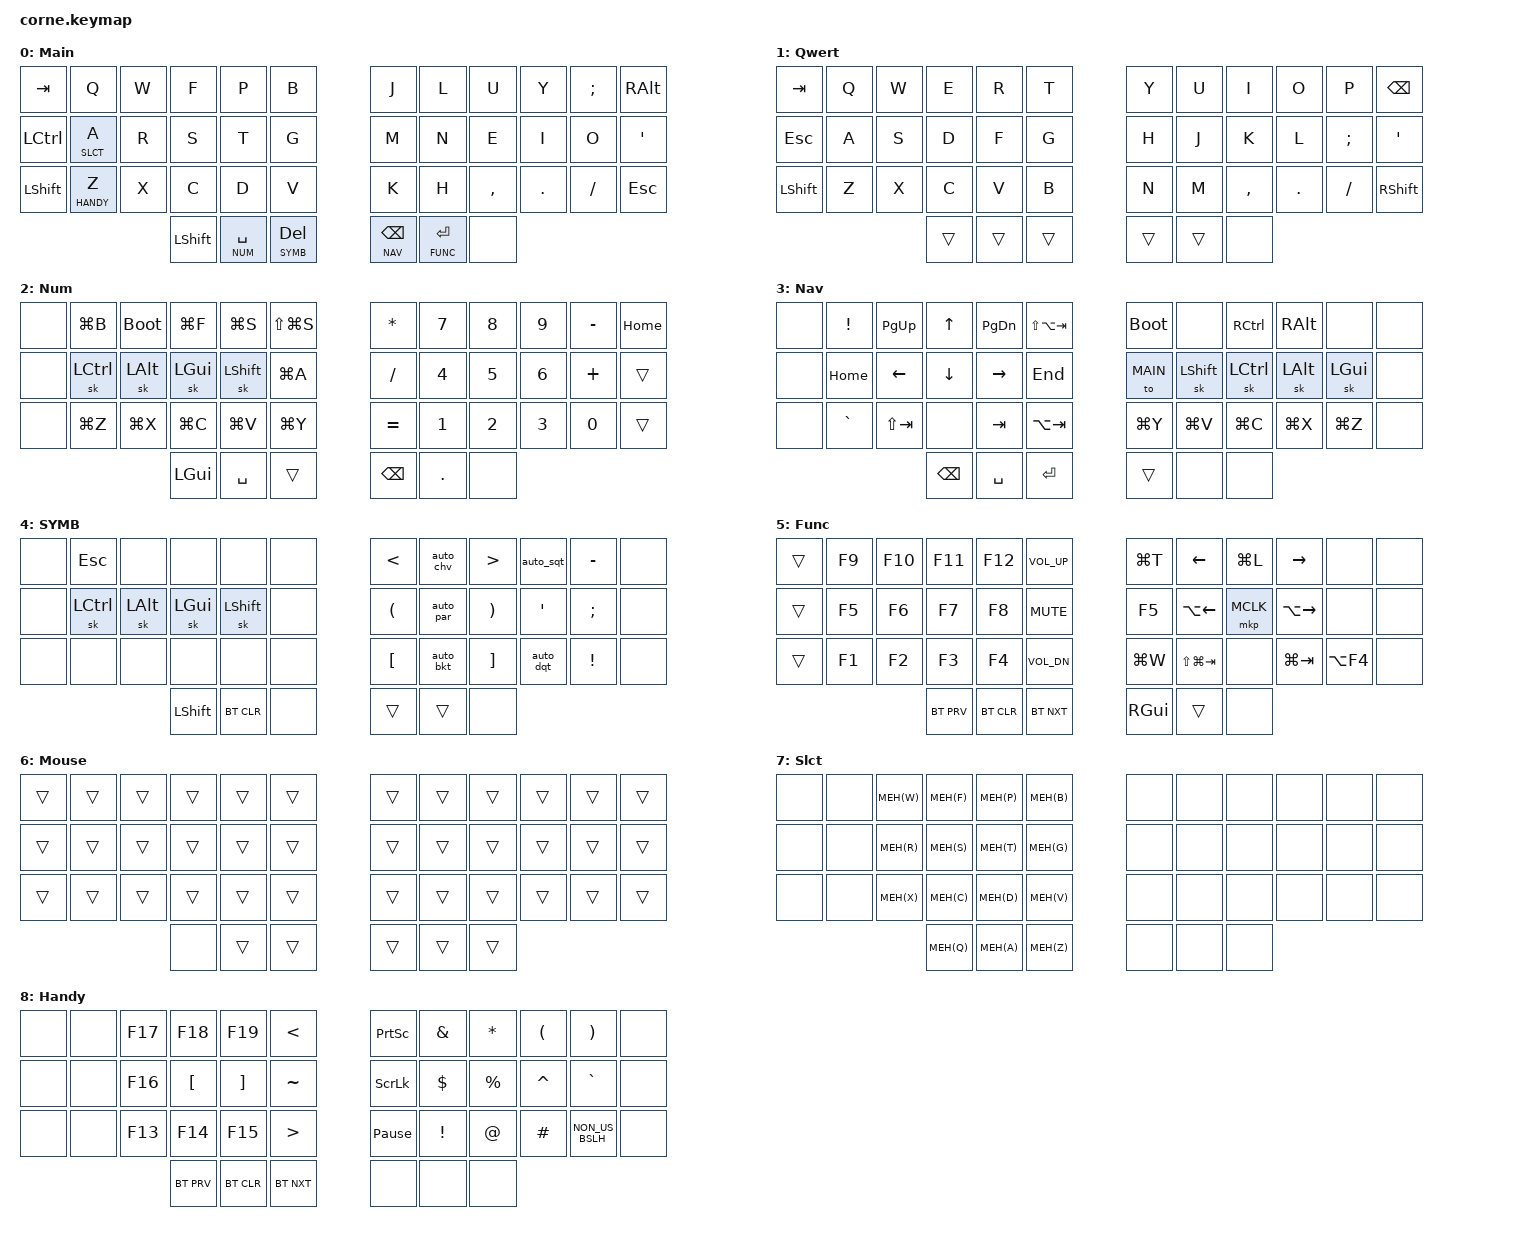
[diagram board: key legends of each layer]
/*
 * Copyright (c) 2020 The ZMK Contributors
 *
 * SPDX-License-Identifier: MIT
 */

#include <behaviors.dtsi>
#include <dt-bindings/zmk/keys.h>
#include <dt-bindings/zmk/bt.h>
#include <dt-bindings/zmk/mouse.h>



#define MAIN  0
#define QWERT 1
#define NUM   2
#define NAV   3
#define SYMB  4
#define FUNC  5
#define MOUSE 6
#define SLCT  7
#define HANDY 8

#define MEH(key) LA(LS(LC(key)))


&lt {
    tapping-term-ms = <150>;
    flavor = "balanced";
    quick-tap-ms = <80>;
    require-prior-idle-ms = <50>;
};



/ {
    combos {
        compatible = "zmk,combos";

        combo_alt {
            timeout-ms = <50>;
            bindings = <&kp LALT>;
            key-positions = <13 14>;
        };

        combo_gui {
            timeout-ms = <50>;
            bindings = <&kp LGUI>;
            key-positions = <14 15>;
        };

        combo_shift {
            timeout-ms = <50>;
            bindings = <&kp LSHFT>;
            key-positions = <15 16>;
        };

        combo_lck {
            timeout-ms = <50>;
            bindings = <&mkp LCLK>;
            key-positions = <19 20>;
        };

        combo_DGSK {
            timeout-ms = <50>;
            bindings = <&mo MOUSE>;
            key-positions = <20 21>;
        };

        combo_rck {
            timeout-ms = <50>;
            bindings = <&mkp RCLK>;
            key-positions = <21 22>;
        };

        combo_change {
            timeout-ms = <100>;
            bindings = <&lan_chan>;
            key-positions = <25 26>;
        };


    };
};




/ {

    macros {

// language change and layer change at the same time
        lan_chan: lan_chan {
            compatible = "zmk,behavior-macro";
            label = "ZM_lan_chan";
            #binding-cells = <0>;
            bindings 
                = <&macro_press &tog QWERT>
                , <&macro_tap &kp RALT>
                , <&macro_release &tog QWERT>
                ;
        };

// automatically write two parentheses
        auto_par: auto_par {
            compatible = "zmk,behavior-macro";
            label = "ZM_auto_par";
            #binding-cells = <0>;
            bindings
                = <&macro_tap &kp LPAR &kp RPAR &kp LEFT>
                ;
        };

// automatically write two brackets
        auto_bkt: auto_bkt {
            compatible = "zmk,behavior-macro";
            label = "ZM_auto_bkt";
            #binding-cells = <0>;
            bindings
                = <&macro_tap &kp LBKT &kp RBKT &kp LEFT>
                ;
        };

// automatically write two chevrons
        auto_chv: auto_chv {
            compatible = "zmk,behavior-macro";
            label = "ZM_auto_chv";
            #binding-cells = <0>;
            bindings
                = <&macro_tap &kp LT &kp GT &kp LEFT>
                ;
        };

// automatically write two quotations
        auto_dqt: auto_dqt {
            compatible = "zmk,behavior-macro";
            label = "ZM_auto_dqt";
            #binding-cells = <0>;
            bindings
                = <&macro_press &kp LSHFT>
                , <&macro_tap &kp SQT &kp SQT>
                , <&macro_release &kp LSHFT>
                , <&macro_tap &kp LEFT>

                ;
        };

// automatically write two small quotations
        auto_sqt: auto_sqt {
            compatible = "zmk,behavior-macro";
            label = "ZM_auto_sqt";
            #binding-cells = <0>;
            bindings
                = <&macro_tap &kp SQT &kp SQT &kp LEFT>
                ;
        };


//end of macro list
    };
};



/ {
        keymap {
                compatible = "zmk,keymap";

                Main {
                        label = "Main";
                        bindings = <
        &kp TAB   &kp Q       &kp W &kp F &kp P &kp B            &kp J   &kp L   &kp U     &kp Y   &kp SEMI    &kp RALT
        &kp LCTRL &lt SLCT A  &kp R &kp S &kp T &kp G            &kp M   &kp N   &kp E     &kp I   &kp O &kp SQT
        &kp LSHFT &lt HANDY Z &kp X &kp C &kp D &kp V            &kp K   &kp H   &kp COMMA &kp DOT &kp FSLH &kp ESC
               &kp LSHFT  &lt NUM SPACE  &lt SYMB DEL            &lt NAV BSPC  &lt FUNC RET  &none
                        >;
                };

        Qwert {
            label = "Qwert";
            bindings = <
  &kp TAB  &kp Q  &kp W      &kp E      &kp R  &kp T    &kp Y    &kp U      &kp I    &kp O     &kp P    &kp BSPC
  &kp ESC  &kp A  &kp S      &kp D      &kp F  &kp G    &kp H    &kp J      &kp K    &kp L  &kp SEMI    &kp APOS
&kp LSHFT  &kp Z  &kp X      &kp C      &kp V  &kp B    &kp N    &kp M  &kp COMMA  &kp DOT  &kp FSLH  &kp RSHIFT
                             &trans    &trans  &trans   &trans   &trans  &none
                        >;
                };

                Num {
                        label = "Num";
                        bindings = <

&none   &kp LG(B) &bootloader &kp LG(F) &kp LG(S) &kp LS(LG(S))        &kp ASTRK  &kp N7   &kp N8  &kp N9  &kp MINUS  &kp HOME
&none   &sk LCTRL &sk LEFT_ALT &sk LGUI &sk LSHFT &kp LG(A)            &kp FSLH   &kp N4   &kp N5  &kp N6  &kp PLUS    &trans
&none   &kp LG(Z) &kp LG(X)  &kp LG(C) &kp LG(V) &kp LG(Y)             &kp EQUAL  &kp N1   &kp N2  &kp N3  &kp N0    &trans
                               &kp LGUI  &kp SPACE    &trans           &kp BSPC  &kp DOT   &none
                        >;
                };

                Nav {
                        label = "Nav";
                        bindings = <

&none    &kp EXCL   &kp PG_UP &kp UP   &kp PG_DN  &kp LS(LA(TAB))          &bootloader   &none   &kp RCTRL  &kp RALT  &none    &none
&none    &kp HOME   &kp LEFT  &kp DOWN &kp RIGHT  &kp END                 &to MAIN  &sk LSHFT   &sk LCTRL  &sk LEFT_ALT &sk LGUI   &none
&none    &kp GRAVE   &kp LS(TAB)     &none    &kp TAB    &kp LA(TAB)      &kp LG(Y) &kp LG(V)   &kp LG(C)   &kp LG(X)   &kp LG(Z)  &none
                        &kp BSPC  &kp SPACE  &kp RET                      &trans    &none   &none 
                        >;
                };

        SYMB {
            label = "SYMB";
            bindings = <
   &none    &kp ESC  &none  &none   &none  &none                  &kp LT    &auto_chv  &kp GT   &auto_sqt &kp MINUS  &none
   &none    &sk LCTRL &sk LEFT_ALT &sk LGUI &sk LSHFT  &none      &kp LPAR  &auto_par  &kp RPAR &kp SQT   &kp SEMI   &none
   &none    &none    &none  &none   &none  &none                  &kp LBKT  &auto_bkt  &kp RBKT &auto_dqt &kp EXCL   &none
                                   &kp LSHFT  &bt BT_CLR  &none        &trans  &trans  &none 
            >;
        };

        Func {
            label = "Func";
            bindings = <
&trans  &kp F9  &kp F10  &kp F11  &kp F12    &kp C_VOL_UP          &kp LG(T)  &kp LEFT         &kp LG(L) &kp RIGHT     &none      &none
&trans  &kp F5  &kp F6   &kp F7   &kp F8     &kp C_MUTE            &kp F5     &kp LA(LEFT)     &mkp MCLK &kp LA(RIGHT) &none      &none
&trans  &kp F1  &kp F2   &kp F3   &kp F4     &kp C_VOL_DN          &kp LG(W)  &kp LS(LG(TAB))  &none     &kp LG(TAB)   &kp LA(F4) &none
                  &bt BT_PRV  &bt BT_CLR  &bt BT_NXT               &kp RGUI  &trans  &none 
            >;
        };

        Mouse {
            label = "Mouse";
            bindings = <
   &trans  &trans  &trans     &trans  &trans     &trans     &trans  &trans  &trans  &trans  &trans     &trans
   &trans  &trans  &trans     &trans  &trans     &trans     &trans  &trans  &trans  &trans  &trans     &trans
   &trans  &trans  &trans     &trans  &trans     &trans     &trans  &trans  &trans  &trans  &trans     &trans
                                 &none   &trans  &trans     &trans    &trans  &trans
            >;
        };


        Slct {
            label = "Slct";
            bindings = <
   &none   &none  &kp MEH(W)  &kp MEH(F)  &kp MEH(P)  &kp MEH(B)   &none &none &none &none &none &none
   &none   &none  &kp MEH(R)  &kp MEH(S)  &kp MEH(T)  &kp MEH(G)   &none &none &none &none &none &none
   &none   &none  &kp MEH(X)  &kp MEH(C)  &kp MEH(D)  &kp MEH(V)   &none &none &none &none &none &none
                              &kp MEH(Q)  &kp MEH(A)  &kp MEH(Z)   &none   &none   &none
            >;
        };

        Handy {
            label = "Handy";
            bindings = <
   &none &none   &kp F17     &kp F18     &kp F19     &kp LT          &kp PRINTSCREEN   &kp AMPERSAND  &kp ASTRK  &kp LPAR  &kp RPAR &none
   &none &none   &kp F16     &kp LBKT     &kp RBKT    &kp TILDE       &kp SCROLLLOCK    &kp DLLR       &kp PRCNT  &kp CARET &kp GRAVE &none
   &none &none   &kp F13     &kp F14     &kp F15     &kp GT          &kp PAUSE_BREAK   &kp EXCL       &kp AT     &kp HASH  &kp NON_US_BSLH &none
                     &bt BT_PRV      &bt BT_CLR   &bt BT_NXT         &none  &none      &none
            >;
        };




        };
};
